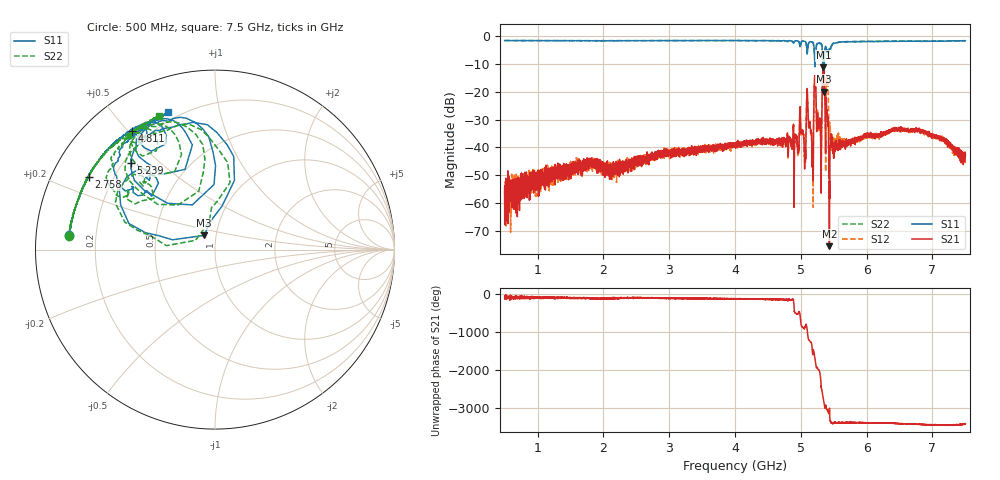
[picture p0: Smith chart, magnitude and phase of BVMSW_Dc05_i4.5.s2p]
!Keysight Technologies,M9374A,MY55442783,A.12.55.05
!Date: Thursday, May 20, 2021 19:02:52
!Correction: S11(Full 2 Port(1,2))
!S21(Full 2 Port(1,2))
!S12(Full 2 Port(1,2))
!S22(Full 2 Port(1,2))
!S2P File: Measurements: S11, S21, S12, S22:
# Hz S  RI  R 50
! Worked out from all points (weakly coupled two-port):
!   7001 points, 500 MHz to 7.5 GHz, reference 50 ohm
!   highest |S21| = -11.32 dB at 5.343 GHz (marker M1); lowest = -75.3 dB at 5.434 GHz (marker M2)
!   lowest |S11| = -20.0 dB at 5.348 GHz (marker M3), VSWR 1.22, Z = 43.7 + j6.97 ohm
!   |S11| at or under -10 dB: 5.212988 GHz to 5.217975 GHz (4.988 MHz wide, 0.0956 % of centre); 5.335693 GHz to 5.355745 GHz (20.05 MHz wide, 0.375 % of centre)
!   |S22| runs from -18.5 to -1.7 dB; largest |S21 - S12| = 0.21
!   S11 on the Smith chart (normalised r, x): 500 MHz: 0.10, +0.05; 2.758 GHz: 0.11, +0.26; 4.811 GHz: 0.14, +0.51; 5.239 GHz: 0.23, +0.40; 7.5 GHz: 0.16, +0.71
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5e8  -0.8128 0.0805  0.00035 -0.00189  -0.00105 -0.000968  -0.8141 0.0758
1.667e9  -0.771 0.2539  -0.00199 -0.00303  -0.00263 -0.00433  -0.7764 0.2373
2.758e9  -0.7039 0.4047  -0.00258 -0.00661  -0.00297 -0.00656  -0.7222 0.3796
2.834e9  -0.7016 0.4143  -0.00392 -0.00723  -0.00249 -0.00589  -0.7146 0.3928
4e9  -0.5912 0.5655  -0.00761 -0.00716  -0.00762 -0.00801  -0.6119 0.5342
4.811e9  -0.4621 0.6588  -0.00835 -0.00523  -0.00774 -0.00666  -0.4959 0.6303
4.931e9  -0.4102 0.6989  -0.0154 -0.00467  -0.0149 -0.00343  -0.4588 0.6619
5.011e9  -0.4296 0.6559  -0.0127 -0.0135  -0.0126 -0.0133  -0.4648 0.6285
5.045e9  -0.3569 0.7126  -0.0147 0.00116  -0.0152 0.00249  -0.4045 0.6775
5.115e9  -0.4386 0.544  -0.0111 -0.0278  -0.0108 -0.0265  -0.4771 0.5398
5.167e9  -0.2805 0.7183  -0.0021 0.0122  -0.00247 0.0132  -0.3316 0.6881
5.239e9  -0.4699 0.4841  -0.0222 -0.0129  -0.0179 -0.0164  -0.5017 0.4789
5.283e9  -0.2992 0.6679  -0.0181 0.0223  -0.0156 0.0191  -0.3502 0.6416
5.343e9  0.00951 0.1797  -0.0779 0.2604  -0.075 0.2959  -0.0178 0.1911
5.348e9  -0.0616 0.079  0.1238 0.2077  0.1788 0.2397  -0.1082 0.0517
5.377e9  -0.4787 0.411  0.01 -0.0101  0.000776 -0.0036  -0.495 0.3938
5.434e9  -0.4593 0.3391  -6.7e-05 0.000158  0.0212 -0.00484  -0.4771 0.3095
5.458e9  -0.5063 0.3301  -0.0101 -0.0056  -0.0025 -0.0098  -0.555 0.3132
5.509e9  -0.5462 0.4878  -0.00658 -0.00607  -0.0107 -0.00953  -0.5801 0.4511
6.334e9  -0.3827 0.6904  -0.0159 -0.00753  -0.0188 -0.00808  -0.4488 0.6625
6.873e9  -0.3219 0.7262  -0.0191 0.0033  -0.0179 0.0038  -0.3856 0.7057
7.5e9  -0.2603 0.7688  -0.00724 -0.00106  -0.00713 -0.000488  -0.3115 0.7424
